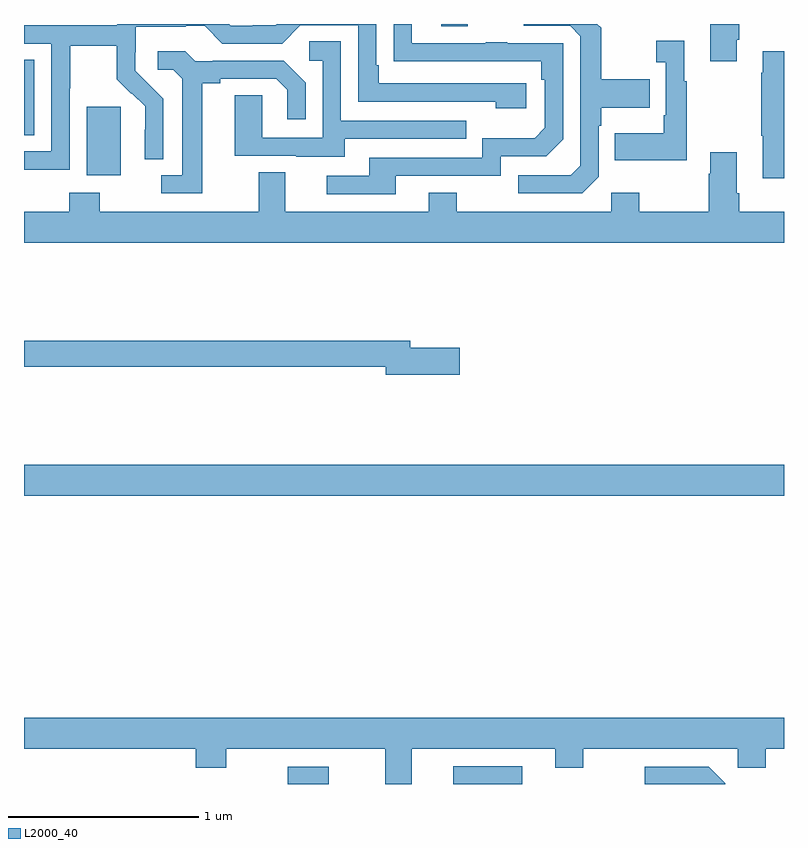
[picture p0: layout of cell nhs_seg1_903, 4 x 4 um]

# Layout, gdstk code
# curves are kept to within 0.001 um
import gdstk
lib = gdstk.Library(unit=1e-6, precision=1e-09)
def R(c, l, rs):  # rectangles x0, y0, x1, y1
    for r in rs: c.add(gdstk.rectangle(r[:2], r[2:], *l))
def P(c, l, *ps):  # polygons
    for p in ps: c.add(gdstk.Polygon(p, *l))
L2000_40 = (2000, 40)

nhs_seg1_903 = lib.new_cell('nhs_seg1_903')
R(nhs_seg1_903, L2000_40, [(160.389,566.199,160.603,566.289), (161.259,566.199,161.623,566.292), (159,567.716,163,567.88), (159.329,569.402,159.508,569.763), (159,569.614,159.055,570.011), (161.195,570.186,161.335,570.199)])
P(nhs_seg1_903, L2000_40, [(159.24,569.86),(159.243,569.86),(159.243,570.084),(159.487,570.084),(159.487,569.909),(159.564,569.832),(159.567,569.835),(159.638,569.765),(159.638,569.642),(159.636,569.642),(159.636,569.488),(159.732,569.488),(159.732,569.806),(159.586,569.954),(159.586,570.051),(159.588,570.051),(159.588,570.185),(159.851,570.185),(159.851,570.189),(159.951,570.189),(160.044,570.096),(160.359,570.096),(160.455,570.192),(160.758,570.192),(160.758,569.79),(161.483,569.79),(161.483,569.756),(161.644,569.756),(161.644,569.886),(160.867,569.886),(160.867,569.983),(160.854,569.983),(160.854,570.199),(160.33,570.199),(160.323,570.192),(160.205,570.192),(160.205,570.189),(160.089,570.189),(160.079,570.199),(159.492,570.199),(159.492,570.192),(159,570.192),(159,570.096),(159.144,570.096),(159.144,569.529),(159,569.529),(159,569.431),(159.24,569.431)],
  [(162.024,569.394),(162.024,569.663),(162.037,569.663),(162.037,569.759),(162.293,569.759),(162.293,569.907),(162.037,569.907),(162.037,570.179),(162.017,570.199),(161.631,570.199),(161.631,570.189),(161.874,570.189),(161.928,570.135),(161.928,569.454),(161.877,569.403),(161.601,569.403),(161.601,569.307),(161.937,569.307)],
  [(160.957,569.4),(161.508,569.4),(161.508,569.502),(161.748,569.502),(161.838,569.592),(161.838,570.099),(161.543,570.099),(161.543,570.104),(161.431,570.104),(161.431,570.099),(161.041,570.099),(161.041,570.199),(160.945,570.199),(160.945,570.004),(161.722,570.003),(161.722,569.906),(161.742,569.906),(161.742,569.652),(161.689,569.599),(161.412,569.599),(161.412,569.496),(160.817,569.496),(160.817,569.4),(160.593,569.4),(160.593,569.304),(160.957,569.304)],
  [(162.751,570.115),(162.764,570.115),(162.764,570.199),(162.611,570.199),(162.611,570.003),(162.751,570.003)],
  [(162.487,569.899),(162.475,569.899),(162.475,570.112),(162.327,570.112),(162.327,569.999),(162.378,569.999),(162.378,569.719),(162.366,569.719),(162.366,569.623),(162.109,569.623),(162.109,569.483),(162.487,569.483)],
  [(160.687,569.595),(161.327,569.595),(161.327,569.691),(160.668,569.691),(160.668,570.107),(160.5,570.107),(160.5,570.006),(160.572,570.006),(160.572,569.601),(160.254,569.601),(160.254,569.825),(160.109,569.825),(160.109,569.505),(160.433,569.505),(160.433,569.501),(160.687,569.501)],
  [(159.937,569.888),(160.033,569.888),(160.033,569.91),(160.328,569.91),(160.385,569.853),(160.385,569.697),(160.482,569.697),(160.482,569.89),(160.366,570.006),(159.994,570.006),(159.994,570.003),(159.9,570.003),(159.848,570.055),(159.705,570.055),(159.705,569.958),(159.786,569.958),(159.833,569.911),(159.833,569.403),(159.723,569.403),(159.723,569.307),(159.937,569.307)],
  [(163,570.055),(162.887,570.055),(162.887,569.942),(162.88,569.942),(162.88,569.611),(162.887,569.611),(162.887,569.388),(163,569.388)],
  [(163,569.212),(162.764,569.212),(162.764,569.308),(162.751,569.308),(162.751,569.524),(162.611,569.524),(162.611,569.411),(162.604,569.411),(162.604,569.212),(162.237,569.212),(162.237,569.311),(162.09,569.311),(162.09,569.212),(161.277,569.212),(161.277,569.311),(161.129,569.311),(161.129,569.212),(160.375,569.212),(160.375,569.42),(160.235,569.42),(160.235,569.212),(159.399,569.212),(159.399,569.311),(159.239,569.311),(159.239,569.212),(159,569.212),(159,569.048),(163,569.048)],
  [(161.293,568.496),(161.032,568.496),(161.032,568.532),(159,568.532),(159,568.396),(160.904,568.396),(160.904,568.354),(161.293,568.354)],
  [(161.041,566.384),(161.795,566.384),(161.795,566.285),(161.943,566.285),(161.943,566.384),(162.756,566.384),(162.756,566.285),(162.903,566.285),(162.903,566.384),(163,566.384),(163,566.548),(159,566.548),(159,566.384),(159.905,566.384),(159.905,566.285),(160.065,566.285),(160.065,566.384),(160.901,566.384),(160.901,566.199),(161.041,566.199)],
  [(162.69,566.202),(162.603,566.289),(162.267,566.289),(162.267,566.199),(162.69,566.199)])

lib.write_gds('nhs_seg1_903.gds')
